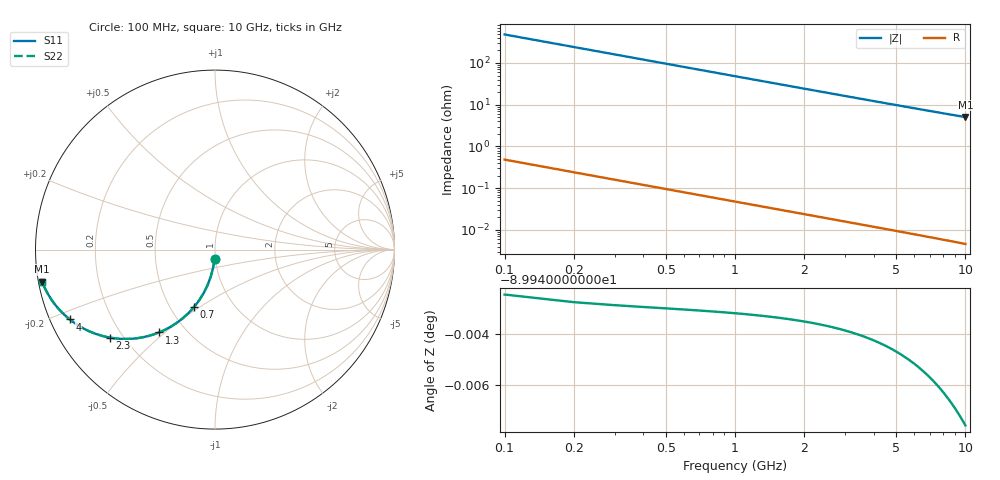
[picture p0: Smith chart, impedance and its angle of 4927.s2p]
# Hz S RI R 50.00
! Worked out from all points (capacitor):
!   100 points, 100 MHz to 10 GHz, reference 50 ohm
!   read as one part in shunt: C = 3.3 pF near 100 MHz
!   lowest |Z| = 5.06 ohm at 10 GHz (marker M1)
!   S11 on the Smith chart (normalised r, x): 100 MHz: 0.99, -0.10; 700 MHz: 0.66, -0.47; 1.3 GHz: 0.36, -0.48; 2.3 GHz: 0.15, -0.36; 4 GHz: 0.06, -0.23; 10 GHz: 0.01, -0.09
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1e8  -0.00272 -0.0516  0.9973 -0.0518  0.9973 -0.0518  -0.00272 -0.0516
2e8  -0.0107 -0.1024  0.9892 -0.1027  0.9892 -0.1027  -0.0107 -0.1024
3e8  -0.0238 -0.1516  0.9762 -0.1521  0.9762 -0.1521  -0.0238 -0.1516
4e8  -0.0414 -0.1984  0.9586 -0.1991  0.9586 -0.1991  -0.0414 -0.1984
5e8  -0.0631 -0.2423  0.9368 -0.2431  0.9368 -0.2431  -0.0631 -0.2423
6e8  -0.0884 -0.2829  0.9116 -0.2839  0.9116 -0.2839  -0.0884 -0.2829
7e8  -0.1165 -0.3197  0.8835 -0.3209  0.8835 -0.3209  -0.1165 -0.3197
8e8  -0.1468 -0.3528  0.8532 -0.3541  0.8532 -0.3541  -0.1468 -0.3528
1e9  -0.2116 -0.4071  0.7884 -0.4088  0.7884 -0.4088  -0.2116 -0.4071
1.3e9  -0.3116 -0.4616  0.6883 -0.4637  0.6883 -0.4637  -0.3116 -0.4616
1.5e9  -0.3758 -0.4826  0.6242 -0.4851  0.6242 -0.4851  -0.3758 -0.4826
1.8e9  -0.4639 -0.4967  0.5361 -0.4997  0.5361 -0.4997  -0.4639 -0.4967
2.3e9  -0.5848 -0.4903  0.4151 -0.4942  0.4151 -0.4942  -0.5848 -0.4903
2.8e9  -0.6756 -0.4653  0.3244 -0.47  0.3244 -0.47  -0.6756 -0.4653
3.4e9  -0.7538 -0.4274  0.2461 -0.4331  0.2461 -0.4331  -0.7538 -0.4274
4e9  -0.8088 -0.3894  0.1912 -0.3961  0.1912 -0.3961  -0.8088 -0.3894
4.5e9  -0.8424 -0.36  0.1576 -0.3677  0.1576 -0.3677  -0.8424 -0.36
5.1e9  -0.8727 -0.3284  0.1272 -0.3371  0.1272 -0.3371  -0.8727 -0.3284
5.8e9  -0.8986 -0.2964  0.1014 -0.3063  0.1014 -0.3063  -0.8986 -0.2964
6.7e9  -0.922 -0.2618  0.0779 -0.2734  0.0779 -0.2734  -0.922 -0.2618
8.4e9  -0.949 -0.2121  0.0509 -0.2267  0.0509 -0.2267  -0.949 -0.2121
1e10  -0.9636 -0.1778  0.0363 -0.1954  0.0363 -0.1954  -0.9636 -0.1778
